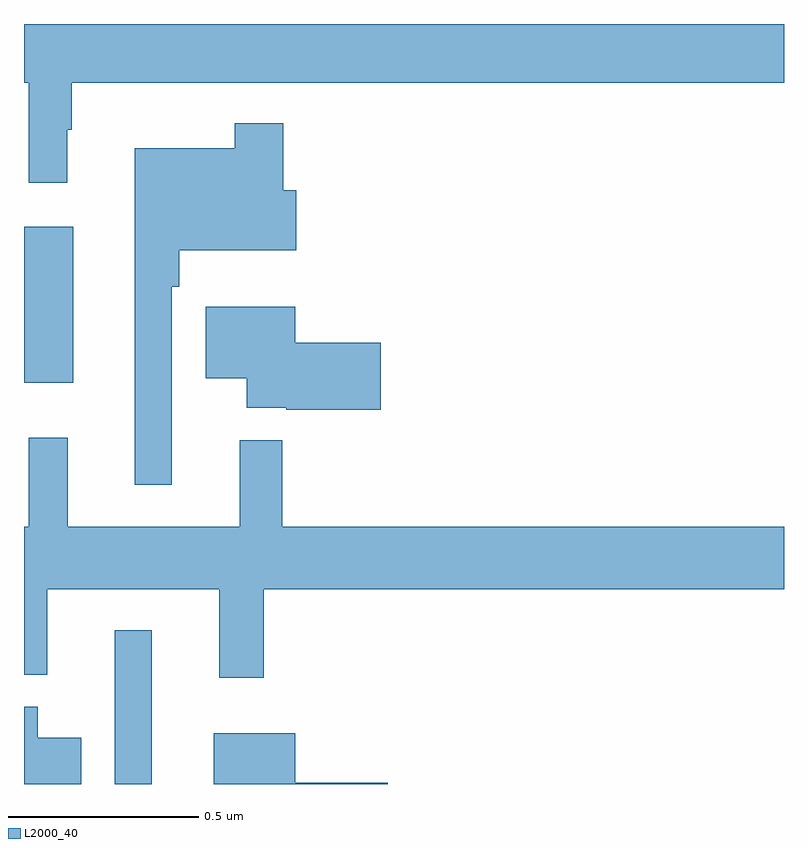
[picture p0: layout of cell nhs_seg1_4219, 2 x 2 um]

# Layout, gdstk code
import gdstk
lib = gdstk.Library(unit=1e-6, precision=1e-09)
def R(c, l, rs):  # rectangles x0, y0, x1, y1
    for r in rs: c.add(gdstk.rectangle(r[:2], r[2:], *l))
def P(c, l, *ps):  # polygons
    for p in ps: c.add(gdstk.Polygon(p, *l))
L2000_40 = (2000, 40)

nhs_seg1_4219 = lib.new_cell('nhs_seg1_4219')
R(nhs_seg1_4219, L2000_40, [(163.239,571.199,163.336,571.603), (163,572.255,163.129,572.665)])
P(nhs_seg1_4219, L2000_40, [(163.114,572.921),(163.126,572.921),(163.126,573.044),(165,573.044),(165,573.199),(163,573.199),(163,573.044),(163.012,573.044),(163.012,572.781),(163.114,572.781)],
  [(163.389,572.507),(163.409,572.507),(163.409,572.603),(163.717,572.603),(163.717,572.761),(163.682,572.761),(163.682,572.938),(163.554,572.938),(163.554,572.872),(163.292,572.872),(163.292,571.986),(163.389,571.986)],
  [(163.939,572.36),(163.714,572.36),(163.714,572.455),(163.478,572.455),(163.478,572.267),(163.586,572.267),(163.586,572.189),(163.69,572.189),(163.69,572.184),(163.939,572.184)],
  [(163.631,571.712),(165,571.712),(165,571.876),(163.68,571.876),(163.68,572.104),(163.568,572.104),(163.568,571.876),(163.115,571.876),(163.115,572.11),(163.012,572.11),(163.012,571.876),(163,571.876),(163,571.487),(163.061,571.487),(163.061,571.712),(163.514,571.712),(163.514,571.479),(163.631,571.479)],
  [(163.15,571.321),(163.036,571.321),(163.036,571.402),(163,571.402),(163,571.199),(163.15,571.199)],
  [(163.957,571.202),(163.714,571.202),(163.714,571.333),(163.499,571.333),(163.499,571.199),(163.957,571.199)])

lib.write_gds('nhs_seg1_4219.gds')
